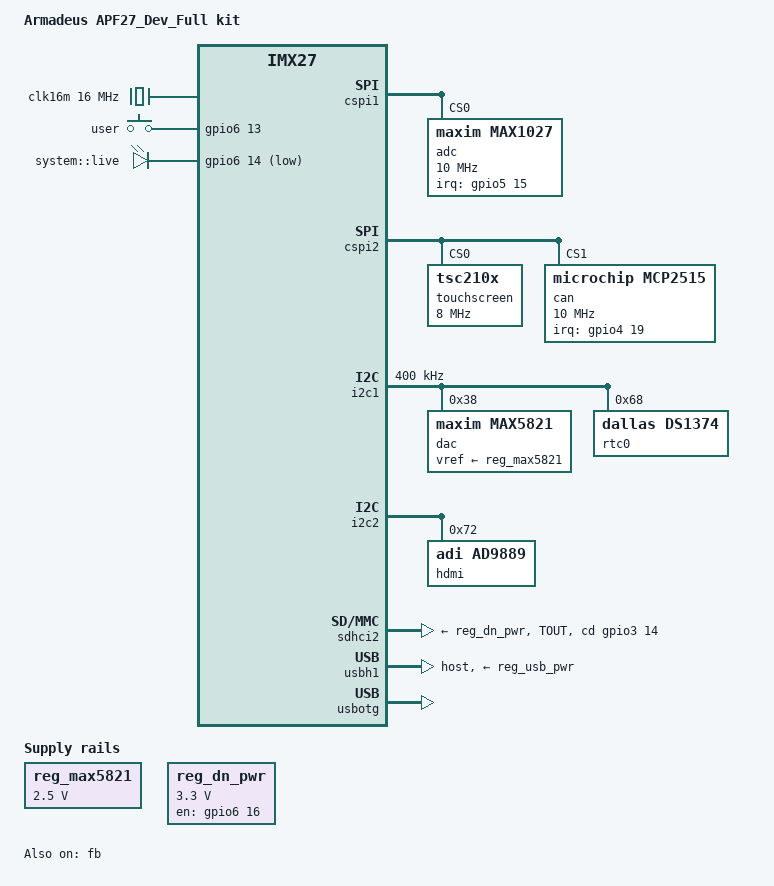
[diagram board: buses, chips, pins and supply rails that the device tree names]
/*
 * Copyright 2013 Armadeus Systems - <support@armadeus.com>
 * Copyright 2016 Julien Corjon <corjon.j@ecagroup.com>
 *
 * The code contained herein is licensed under the GNU General Public
 * License. You may obtain a copy of the GNU General Public License
 * Version 2 or later at the following locations:
 *
 * http://www.opensource.org/licenses/gpl-license.html
 * http://www.gnu.org/copyleft/gpl.html
 */
/dts-v1/;
#include <dt-bindings/input/input.h>
#include <dt-bindings/gpio/gpio.h>
#include "imx27-apf27.dtsi"

/ {
	model = "Armadeus APF27_Dev_Full kit";
	compatible = "armadeus,imx27-apf27_dev_full", "armadeus,imx27-apf27", "fsl,imx27";

	chosen {
                bootargs = "console=ttymxc0,115200 video=imxfb:Chimei-LW700AT9003 ubi.mtd=rootfs root=ubi0:rootfs rootfstype=ubifs";
        };

	clocks {
		clk16m: clk16m {
			compatible = "fixed-clock";
			#clock-cells = <0>;
			clock-output-names = "mcp2515-osc";
			clock-frequency = <16000000>;
		};
	};

	display: Chimei-LW700AT9003 {
		model = "Chimei-LW700AT9003";
		native-mode = <&timing0>;
		bits-per-pixel = <16>;
		fsl,pcr = <0xfae80083>;
		display-timings {
			timing0: 800x480 {
				clock-frequency = <33000033>;
				hactive = <800>;
				vactive = <480>;
				hback-porch = <96>;
				hfront-porch = <96>;
				vback-porch = <20>;
				vfront-porch = <21>;
				hsync-len = <64>;
				vsync-len = <4>;
			};
		};
	};

	gpio-keys {
		compatible = "gpio-keys";
		pinctrl-names = "default";
		pinctrl-0 = <&pinctrl_gpio_keys>;

		user-key {
			label = "user";
			gpios = <&gpio6 13 GPIO_ACTIVE_HIGH>;
			linux,code = <BTN_EXTRA>;
			gpio-key,wakeup;
		};
	};

	leds {
		compatible = "gpio-leds";
		pinctrl-names = "default";
		pinctrl-0 = <&pinctrl_gpio_leds>;

		led1 {
			label = "system::live";
			gpios = <&gpio6 14 GPIO_ACTIVE_LOW>;
			linux,default-trigger = "heartbeat";
		};
	};

	regulators {
		compatible = "simple-bus";
		#address-cells = <1>;
		#size-cells = <0>;

		reg_max5821: regulator@0 {
			compatible = "regulator-fixed";
			reg = <0>;
			regulator-name = "max5821-reg";
			regulator-min-microvolt = <2500000>;
			regulator-max-microvolt = <2500000>;
			regulator-always-on;
		};

		reg_dn_pwr: dn_pwr {
			compatible = "regulator-fixed";
			pinctrl-names = "default";
			pinctrl-0 = <&pinctrl_dn_pwr>;
			regulator-name = "dn_pwr";
			regulator-min-microvolt = <3300000>;
			regulator-max-microvolt = <3300000>;
			gpio = <&gpio6 16 GPIO_ACTIVE_HIGH>;
			enable-active-high;
		};
	};

	usbphy {
		usbphy1: usbphy@1 {
			compatible = "usb-nop-xceiv";
			reg = <1>;
			vcc-supply = <&reg_5v0>;
			clocks = <&clks IMX27_CLK_DUMMY>;
			clock-names = "main_clk";
		};
	};
};

&cspi1
{
	status = "okay";

	adc: max1027@0 {
		compatible = "maxim,max1027";
		pinctrl-names = "default";
		pinctrl-0 = <&pinctrl_max1027>;
		reg = <0>;
		interrupt-parent = <&gpio5>;
		interrupts = <15 IRQ_TYPE_EDGE_FALLING>;
		spi-max-frequency = <10000000>;
	};
};

&cspi2
{
	status = "okay";

	touchscreen: tsc2101@0 {
		compatible = "tsc210x";
		pinctrl-names = "default";
		pinctrl-0 = <&pinctrl_tsc2101_int>;
		reg = <0>;
		spi-max-frequency = <8000000>;
		spi-cpol = <0>;
		spi-cpha = <0>;
		tsc210x-mclk = <12288000>;
		tsc210x-use_internal = <1>;
		tsc210x-monitor = <21>;
		tsc210x-irq = <257>;

	};

	can: mcp2515@1 {
		compatible = "microchip,mcp2515";
		pinctrl-names = "default";
		spi-max-frequency = <10000000>;
		reg = <1>;
		clocks = <&clk16m>;
		interrupt-parent = <&gpio4>;
		interrupts = <19 IRQ_TYPE_EDGE_FALLING>;
	};
};

&fb {
	display = <&display>;
	fsl,lpccr = <0x00a90580>;
	fsl,dmacr = <0x00020010>;
	lcd-supply = <&reg_dn_pwr>;
	status = "okay";
};

&i2c1{
	clock-frequency = <400000>;
	status="okay";

	dac: max5821@38 {
		compatible = "maxim,max5821";
		reg = <0x38>;
		vref-supply = <&reg_max5821>;
	};

	rtc0: ds1374@68 {
		compatible = "dallas,ds1374";
		reg = <0x68>;
	};
};

&i2c2 {
	hdmi: ad9889@72 {
		compatible = "adi,ad9889";
		reg = <0x72>;
	};
};

&iomuxc {
	imx27-apf27dev {
		pinctrl_gpio_leds: gpioledsgrp {
			fsl,pins = <
				MX27_PAD_PC_VS1__GPIO6_14 	0x0
			>;
		};

		pinctrl_gpio_keys: gpiokeysgrp {
			fsl,pins = <
				MX27_PAD_PC_VS2__GPIO6_13 	0x0
			>;
		};

		pinctrl_max1027: max1027 {
			fsl,pins = <
				 MX27_PAD_UART1_CTS__GPIO5_14 	0x0 /* CNVST */
				 MX27_PAD_UART1_RTS__GPIO5_15 	0x0 /* EOC */
			>;
		};

		pinctrl_sdhc2_cd: sdhc2cdgrp {
			fsl,pins = <
				MX27_PAD_TOUT__GPIO3_14 	0x0
			>;
		};

		pinctrl_tsc2101_int: tsc2101intgrp {
			fsl,pins = <
				MX27_PAD_PC_READY__GPIO6_17	0x0
			>;
		};

		pinctrl_dn_pwr: dnpwrgrp {
			fsl,pins = <
				MX27_PAD_PC_PWRON__GPIO6_16	0x0
			>;
		};
	};
};

&sdhci2 {
	pinctrl-names = "default";
	pinctrl-0 = <&pinctrl_sdhc2 &pinctrl_sdhc2_cd>;
	vmmc-supply = <&reg_dn_pwr>;
	cd-gpios = <&gpio3 14 GPIO_ACTIVE_LOW>;
	cd-inverted;
	status = "okay";
};

&usbh1 {
	dr_mode = "host";
	phy_type = "serial";
	vbus-supply = <&reg_usb_pwr>;
	fsl,usbphy = <&usbphy1>;
	sic = <0>;
	disable-tll;
	status = "okay";
};

&usbotg {
	status = "okay";
};
